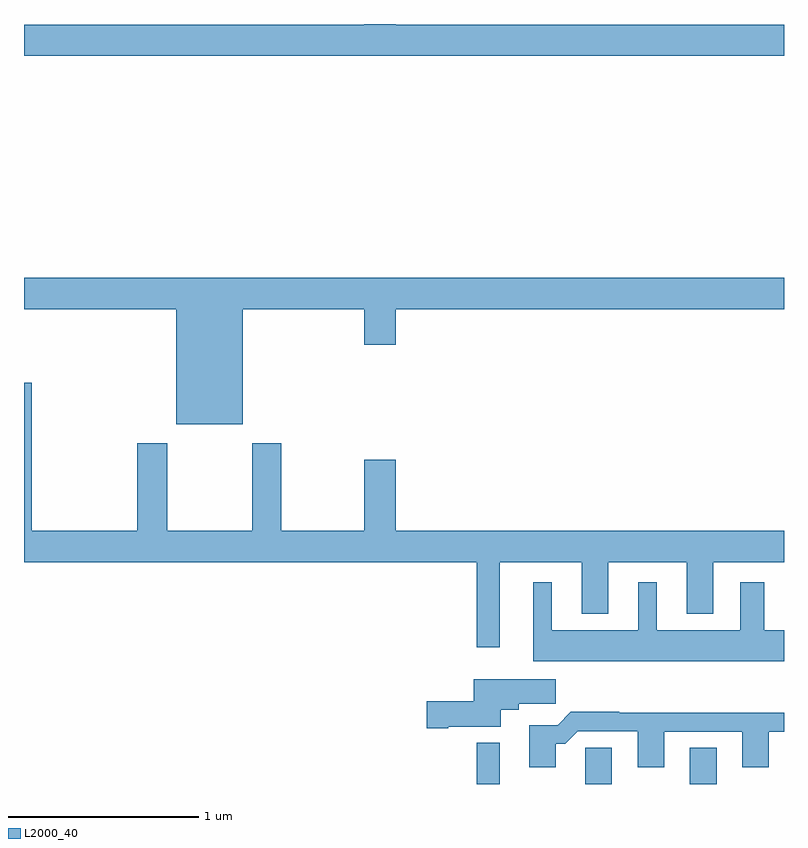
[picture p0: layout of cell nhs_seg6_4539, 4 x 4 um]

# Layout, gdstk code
import gdstk
lib = gdstk.Library(unit=1e-6, precision=1e-09)
def R(c, l, rs):  # rectangles x0, y0, x1, y1
    for r in rs: c.add(gdstk.rectangle(r[:2], r[2:], *l))
def P(c, l, *ps):  # polygons
    for p in ps: c.add(gdstk.Polygon(p, *l))
L2000_40 = (2000, 40)

nhs_seg6_4539 = lib.new_cell('nhs_seg6_4539')
R(nhs_seg6_4539, L2000_40, [(381.384,947.5,381.505,947.716), (381.954,947.5,382.093,947.69), (382.505,947.5,382.645,947.69)])
P(nhs_seg6_4539, L2000_40, [(383,951.496),(380.956,951.496),(380.956,951.5),(380.792,951.5),(380.792,951.496),(379,951.496),(379,951.332),(383,951.332)],
  [(380.152,950),(380.792,950),(380.792,949.812),(380.956,949.812),(380.956,950),(383,950),(383,950.164),(379,950.164),(379,950),(379.802,950),(379.802,949.394),(380.152,949.394)],
  [(381.505,948.668),(381.935,948.668),(381.935,948.395),(382.075,948.395),(382.075,948.668),(382.487,948.668),(382.487,948.395),(382.627,948.395),(382.627,948.668),(383,948.668),(383,948.832),(380.956,948.832),(380.956,949.207),(380.792,949.207),(380.792,948.832),(380.355,948.832),(380.355,949.294),(380.2,949.294),(380.2,948.832),(379.755,948.832),(379.755,949.294),(379.595,949.294),(379.595,948.832),(379.04,948.832),(379.04,949.612),(379,949.612),(379,948.668),(381.384,948.668),(381.384,948.219),(381.505,948.219)],
  [(383,948.31),(382.897,948.31),(382.897,948.562),(382.769,948.562),(382.769,948.31),(382.33,948.31),(382.33,948.562),(382.232,948.562),(382.232,948.31),(381.778,948.31),(381.778,948.562),(381.68,948.562),(381.68,948.146),(383,948.146)],
  [(381.232,947.801),(381.508,947.801),(381.508,947.891),(381.604,947.891),(381.604,947.923),(381.799,947.923),(381.799,948.052),(381.368,948.052),(381.368,947.936),(381.12,947.936),(381.12,947.794),(381.232,947.794)],
  [(381.799,947.711),(381.848,947.711),(381.915,947.778),(382.229,947.778),(382.229,947.589),(382.369,947.589),(382.369,947.775),(382.781,947.775),(382.781,947.589),(382.921,947.589),(382.921,947.775),(383,947.775),(383,947.876),(382.133,947.876),(382.133,947.879),(381.878,947.879),(381.808,947.809),(381.659,947.809),(381.659,947.589),(381.799,947.589)])

lib.write_gds('nhs_seg6_4539.gds')
